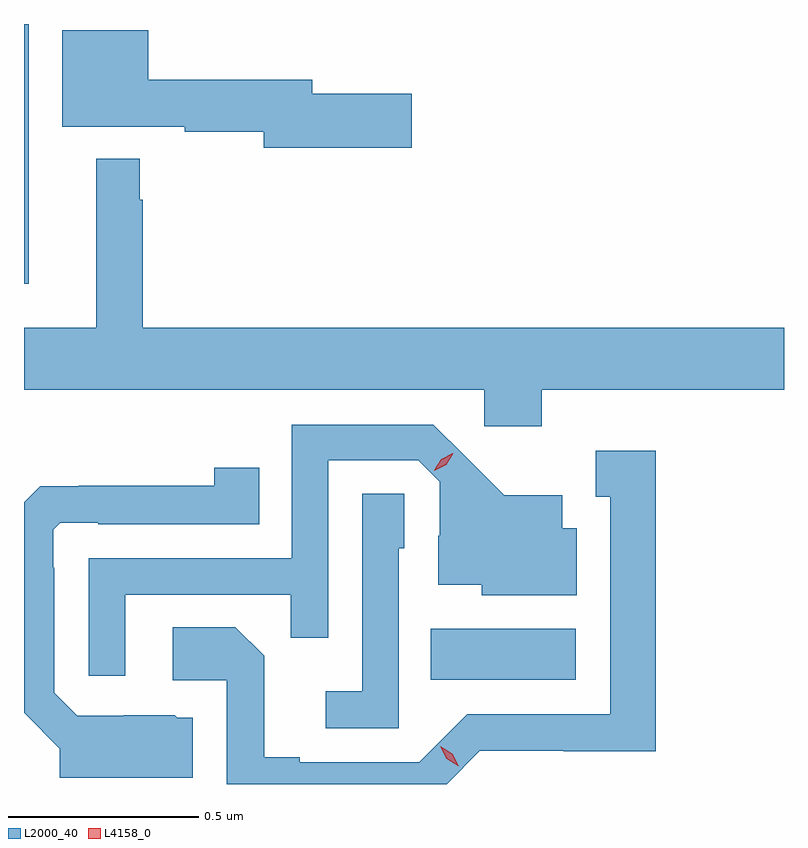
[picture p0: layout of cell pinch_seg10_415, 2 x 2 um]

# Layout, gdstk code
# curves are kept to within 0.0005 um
import gdstk
lib = gdstk.Library(unit=1e-6, precision=1e-09)
def R(c, l, rs):  # rectangles x0, y0, x1, y1
    for r in rs: c.add(gdstk.rectangle(r[:2], r[2:], *l))
def P(c, l, *ps):  # polygons
    for p in ps: c.add(gdstk.Polygon(p, *l))
L2000_40 = (2000, 40)
L4158_0 = (4158, 0)

pinch_seg10_415 = lib.new_cell('pinch_seg10_415')
R(pinch_seg10_415, L2000_40, [(612.226,1256.93,612.607,1257.064), (611.155,1257.971,611.167,1258.655)])
P(pinch_seg10_415, L2000_40, [(612.175,1258.472),(611.914,1258.472),(611.914,1258.508),(611.482,1258.508),(611.482,1258.639),(611.255,1258.639),(611.255,1258.385),(611.578,1258.385),(611.578,1258.372),(611.786,1258.372),(611.786,1258.33),(612.175,1258.33)],
  [(612.518,1257.692),(613.155,1257.692),(613.155,1257.856),(611.467,1257.856),(611.467,1258.193),(611.46,1258.193),(611.46,1258.3),(611.345,1258.3),(611.345,1257.856),(611.155,1257.856),(611.155,1257.692),(612.366,1257.692),(612.366,1257.597),(612.518,1257.597)],
  [(611.421,1257.153),(611.857,1257.153),(611.857,1257.04),(611.955,1257.04),(611.955,1257.507),(612.192,1257.507),(612.249,1257.45),(612.249,1257.308),(612.245,1257.308),(612.245,1257.179),(612.36,1257.179),(612.36,1257.152),(612.61,1257.152),(612.61,1257.328),(612.571,1257.328),(612.571,1257.415),(612.419,1257.415),(612.232,1257.6),(611.859,1257.6),(611.859,1257.249),(611.325,1257.249),(611.325,1256.94),(611.421,1256.94)],
  [(612.354,1256.742),(612.576,1256.742),(612.576,1256.741),(612.817,1256.741),(612.817,1257.532),(612.659,1257.532),(612.659,1257.411),(612.698,1257.411),(612.698,1256.838),(612.321,1256.838),(612.195,1256.712),(611.881,1256.712),(611.881,1256.725),(611.787,1256.725),(611.787,1256.992),(611.711,1257.068),(611.547,1257.068),(611.547,1256.928),(611.688,1256.928),(611.688,1256.655),(612.267,1256.655)],
  [(611.599,1256.83),(611.558,1256.83),(611.552,1256.836),(611.418,1256.836),(611.418,1256.835),(611.295,1256.835),(611.235,1256.895),(611.235,1257.224),(611.232,1257.224),(611.232,1257.324),(611.25,1257.342),(611.35,1257.342),(611.35,1257.339),(611.774,1257.339),(611.774,1257.487),(611.656,1257.487),(611.656,1257.44),(611.299,1257.44),(611.299,1257.439),(611.198,1257.439),(611.155,1257.396),(611.155,1256.842),(611.249,1256.748),(611.249,1256.672),(611.599,1256.672)],
  [(612.141,1257.276),(612.156,1257.276),(612.156,1257.419),(612.045,1257.419),(612.045,1256.899),(611.949,1256.899),(611.949,1256.802),(612.141,1256.802)])
P(pinch_seg10_415, L4158_0, [(612.299,1256.702),(612.267,1256.721),(612.25,1256.754),(612.25,1256.754),(612.25,1256.754),(612.282,1256.735),(612.299,1256.702),(612.299,1256.702)],
  [(612.235,1257.48),(612.235,1257.481),(612.253,1257.51),(612.283,1257.525),(612.284,1257.525),(612.284,1257.525),(612.266,1257.495),(612.235,1257.48)])

lib.write_gds('pinch_seg10_415.gds')
